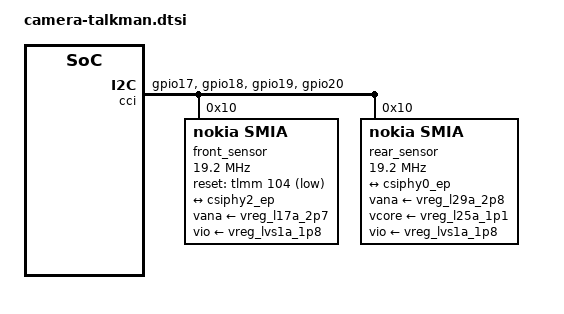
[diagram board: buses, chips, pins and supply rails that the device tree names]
// SPDX-License-Identifier: GPL-2.0-only
/*
 * The Lumia 950's cameras. The camss and cci nodes are from Android4Lumia950/linux, branch
 * camss, checked against the registers in its downstream msm8992-camera.dtsi.
 *
 * Rear ("Hill", on CCI1 and CSI0, four lanes). Its reset is not on the main board's
 * camera connector, so no GPIO is driven and ccs resets it over I2C.
 * Front ("Ducati", on CCI0 and CSI2 lanes 0-1, two lanes), MCLK2 on GPIO 15, reset GPIO 104.
 *
 * Not here yet: the flash, and the iris camera ("Siiri", at 0x36 on CCI0, MCLK1 on GPIO 14, reset
 * GPIO 102). See the README. One lane in combo mode on the front camera's PHY.
 *
 * The addresses are 7-bit: 0x20 in Qualcomm's downstream files is this address shifted.
 *
 * The rails are all always on (see msm8994-msft-lumia-octagon.dtsi): naming one here
 * does not change what reaches the sensor, which is fixed by the board.
 */

&soc {
	camss: camss@fda0ac00 {
		compatible = "qcom,msm8994-camss";
		reg = <0xfda0ac00 0x200>,
		      <0xfda00030 0x4>,
		      <0xfda0b000 0x200>,
		      <0xfda00038 0x4>,
		      <0xfda0b400 0x200>,
		      <0xfda00040 0x4>,
		      <0xfda08000 0x400>,
		      <0xfda08400 0x400>,
		      <0xfda08800 0x400>,
		      <0xfda08c00 0x100>,
		      <0xfda0a000 0x500>,
		      <0xfda00020 0x10>,
		      <0xfda10000 0x1000>,
		      <0xfda14000 0x1000>,
		      <0xfda40000 0x200>;
		reg-names = "csiphy0",
			    "csiphy0_clk_mux",
			    "csiphy1",
			    "csiphy1_clk_mux",
			    "csiphy2",
			    "csiphy2_clk_mux",
			    "csid0",
			    "csid1",
			    "csid2",
			    "csid3",
			    "ispif",
			    "csi_clk_mux",
			    "vfe0",
			    "vfe1",
			    "vfe0_vbif";
		interrupts = <GIC_SPI 78 IRQ_TYPE_EDGE_RISING>,
			     <GIC_SPI 79 IRQ_TYPE_EDGE_RISING>,
			     <GIC_SPI 80 IRQ_TYPE_EDGE_RISING>,
			     <GIC_SPI 51 IRQ_TYPE_EDGE_RISING>,
			     <GIC_SPI 52 IRQ_TYPE_EDGE_RISING>,
			     <GIC_SPI 53 IRQ_TYPE_EDGE_RISING>,
			     <GIC_SPI 54 IRQ_TYPE_EDGE_RISING>,
			     <GIC_SPI 55 IRQ_TYPE_EDGE_RISING>,
			     <GIC_SPI 57 IRQ_TYPE_EDGE_RISING>,
			     <GIC_SPI 58 IRQ_TYPE_EDGE_RISING>;
		interrupt-names = "csiphy0",
				  "csiphy1",
				  "csiphy2",
				  "csid0",
				  "csid1",
				  "csid2",
				  "csid3",
				  "ispif",
				  "vfe0",
				  "vfe1";
		power-domains = <&mmcc VFE_GDSC>;
		clocks = <&mmcc CAMSS_TOP_AHB_CLK>,
			 <&mmcc CAMSS_ISPIF_AHB_CLK>,
			 <&mmcc CAMSS_PHY0_CSI0PHYTIMER_CLK>,
			 <&mmcc CAMSS_PHY1_CSI1PHYTIMER_CLK>,
			 <&mmcc CAMSS_PHY2_CSI2PHYTIMER_CLK>,
			 <&mmcc CAMSS_CSI0_AHB_CLK>,
			 <&mmcc CAMSS_CSI0_CLK>,
			 <&mmcc CAMSS_CSI0PHY_CLK>,
			 <&mmcc CAMSS_CSI0PIX_CLK>,
			 <&mmcc CAMSS_CSI0RDI_CLK>,
			 <&mmcc CAMSS_CSI1_AHB_CLK>,
			 <&mmcc CAMSS_CSI1_CLK>,
			 <&mmcc CAMSS_CSI1PHY_CLK>,
			 <&mmcc CAMSS_CSI1PIX_CLK>,
			 <&mmcc CAMSS_CSI1RDI_CLK>,
			 <&mmcc CAMSS_CSI2_AHB_CLK>,
			 <&mmcc CAMSS_CSI2_CLK>,
			 <&mmcc CAMSS_CSI2PHY_CLK>,
			 <&mmcc CAMSS_CSI2PIX_CLK>,
			 <&mmcc CAMSS_CSI2RDI_CLK>,
			 <&mmcc CAMSS_CSI3_AHB_CLK>,
			 <&mmcc CAMSS_CSI3_CLK>,
			 <&mmcc CAMSS_CSI3PHY_CLK>,
			 <&mmcc CAMSS_CSI3PIX_CLK>,
			 <&mmcc CAMSS_CSI3RDI_CLK>,
			 <&mmcc CAMSS_AHB_CLK>,
			 <&mmcc CAMSS_VFE_VFE0_CLK>,
			 <&mmcc CAMSS_CSI_VFE0_CLK>,
			 <&mmcc CAMSS_VFE_VFE1_CLK>,
			 <&mmcc CAMSS_CSI_VFE1_CLK>,
			 <&mmcc CAMSS_VFE_VFE_AHB_CLK>,
			 <&mmcc CAMSS_VFE_VFE_AXI_CLK>;
		clock-names = "top_ahb",
			      "ispif_ahb",
			      "csiphy0_timer",
			      "csiphy1_timer",
			      "csiphy2_timer",
			      "csi0_ahb",
			      "csi0",
			      "csi0_phy",
			      "csi0_pix",
			      "csi0_rdi",
			      "csi1_ahb",
			      "csi1",
			      "csi1_phy",
			      "csi1_pix",
			      "csi1_rdi",
			      "csi2_ahb",
			      "csi2",
			      "csi2_phy",
			      "csi2_pix",
			      "csi2_rdi",
			      "csi3_ahb",
			      "csi3",
			      "csi3_phy",
			      "csi3_pix",
			      "csi3_rdi",
			      "ahb",
			      "vfe0",
			      "csi_vfe0",
			      "vfe1",
			      "csi_vfe1",
			      "vfe_ahb",
			      "vfe_axi";
		vdda-supply = <&vreg_l2a_1p25>;

		ports {
			#address-cells = <1>;
			#size-cells = <0>;

			port@0 {
				reg = <0>;

				csiphy0_ep: endpoint {
					clock-lanes = <1>;
					/* as wired: found by trying each order on a running stream */
					data-lanes = <3 2 4 0>;
					remote-endpoint = <&rear_ep>;
				};
			};

			port@2 {
				reg = <2>;

				csiphy2_ep: endpoint {
					clock-lanes = <1>;
					data-lanes = <0 2>;
					remote-endpoint = <&front_ep>;
				};
			};
		};
	};

	cci: cci@fda0c000 {
		compatible = "qcom,msm8974-cci";
		#address-cells = <1>;
		#size-cells = <0>;
		reg = <0xfda0c000 0x1000>;
		interrupts = <GIC_SPI 50 IRQ_TYPE_EDGE_RISING>;
		power-domains = <&mmcc CAMSS_TOP_GDSC>;
		clocks = <&mmcc CAMSS_TOP_AHB_CLK>,
			 <&mmcc CAMSS_CCI_CCI_AHB_CLK>,
			 <&mmcc CAMSS_CCI_CCI_CLK>,
			 <&mmcc CAMSS_AHB_CLK>;
		clock-names = "camss_top_ahb",
			      "cci_ahb",
			      "cci",
			      "camss_ahb";
		assigned-clocks = <&mmcc CAMSS_CCI_CCI_AHB_CLK>,
				  <&mmcc CAMSS_CCI_CCI_CLK>;
		assigned-clock-rates = <19200000>, <37500000>;
		pinctrl-names = "default";
		pinctrl-0 = <&cci_default>;

		cci_i2c0: i2c-bus@0 {
			reg = <0>;
			clock-frequency = <100000>;
			#address-cells = <1>;
			#size-cells = <0>;

			front_sensor: camera@10 {
				compatible = "nokia,smia";
				reg = <0x10>;
				vana-supply = <&vreg_l17a_2p7>;
				vio-supply = <&vreg_lvs1a_1p8>;
				clocks = <&mmcc CAMSS_MCLK2_CLK>;
				clock-frequency = <19200000>;
				/* CAM_FRONT_RES_N */
				reset-gpios = <&tlmm 104 GPIO_ACTIVE_LOW>;
				pinctrl-names = "default";
				pinctrl-0 = <&camera_front_default>;

				port {
					front_ep: endpoint {
						data-lanes = <1 2>;
						link-frequencies = /bits/ 64 <200000000 220000000 240000000 260000000 280000000 300000000 320000000 340000000 360000000 380000000 400000000 420000000 440000000 460000000 480000000 500000000 520000000 540000000 560000000 580000000 600000000 620000000 640000000 660000000 680000000 700000000 720000000 740000000>;
						bus-type = <4>;
						remote-endpoint = <&csiphy2_ep>;
					};
				};
			};
		};

		cci_i2c1: i2c-bus@1 {
			reg = <1>;
			clock-frequency = <100000>;
			#address-cells = <1>;
			#size-cells = <0>;

			rear_sensor: camera@10 {
				compatible = "nokia,smia";
				reg = <0x10>;
				vana-supply = <&vreg_l29a_2p8>;
				vcore-supply = <&vreg_l25a_1p1>;
				vio-supply = <&vreg_lvs1a_1p8>;
				clocks = <&mmcc CAMSS_MCLK0_CLK>;
				clock-frequency = <19200000>;
				pinctrl-names = "default";
				pinctrl-0 = <&camera_rear_default>;

				port {
					rear_ep: endpoint {
						data-lanes = <1 2 3 4>;
						link-frequencies = /bits/ 64 <200000000 220000000 240000000 260000000 280000000 300000000 320000000 340000000 360000000 380000000 400000000 420000000 440000000 460000000 480000000 500000000 520000000 540000000 560000000 580000000 600000000 620000000 640000000 660000000 680000000 700000000 720000000 740000000>;
						bus-type = <4>;
						remote-endpoint = <&csiphy0_ep>;
					};
				};
			};
		};
	};
};

&tlmm {
	cci_default: cci-default-state {
		cci-i2c0-pins {
			pins = "gpio17", "gpio18";
			function = "cci_i2c0";
			drive-strength = <2>;
			bias-disable;
		};

		cci-i2c1-pins {
			pins = "gpio19", "gpio20";
			function = "cci_i2c1";
			drive-strength = <2>;
			bias-disable;
		};
	};

	camera_rear_default: camera-rear-default-state {
		mclk-pins {
			pins = "gpio13";
			function = "cam_mclk0";
			drive-strength = <2>;
			bias-disable;
		};
	};

	camera_front_default: camera-front-default-state {
		mclk-pins {
			pins = "gpio15";
			function = "cam_mclk2";
			drive-strength = <2>;
			bias-disable;
		};

		reset-pins {
			pins = "gpio104";
			function = "gpio";
			drive-strength = <2>;
			bias-disable;
		};
	};
};
